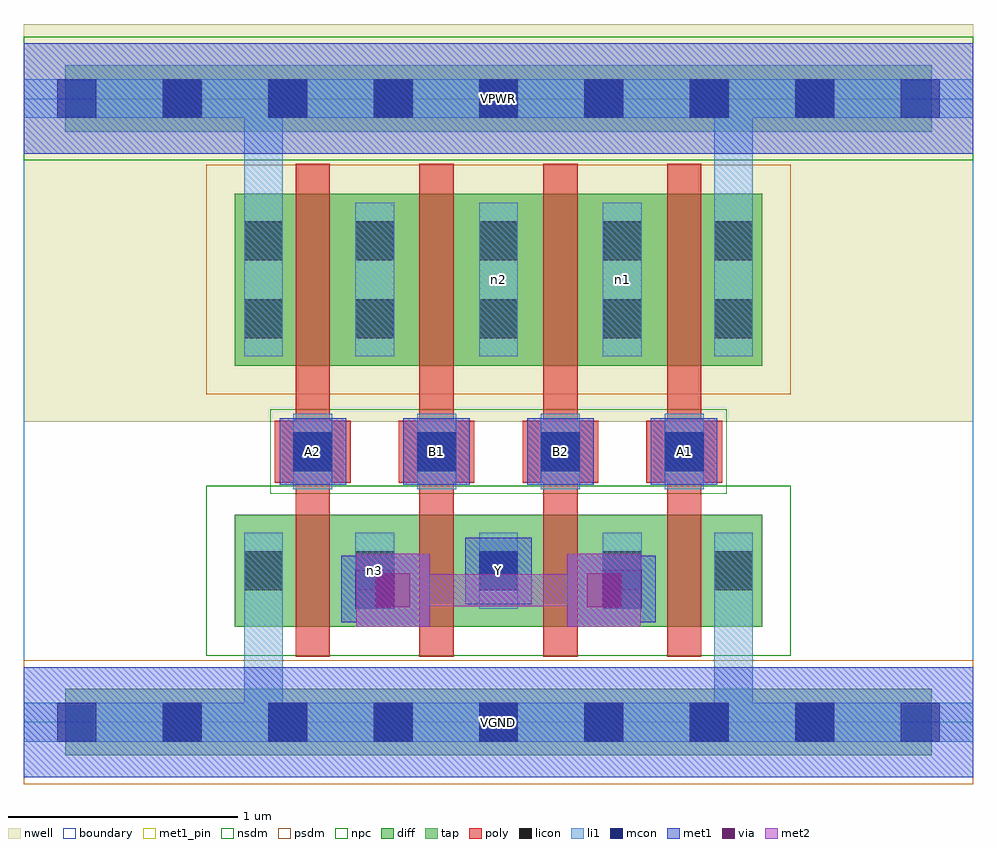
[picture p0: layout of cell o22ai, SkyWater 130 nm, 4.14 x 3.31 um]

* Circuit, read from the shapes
.subckt o22ai A1 A2 B1 B2 VGND VPWR Y n1 n2 n3
XM1 n3 A2 VGND VGND sky130_fd_pr__nfet_01v8 w=0.49 l=0.15
XM2 Y B1 n3 VGND sky130_fd_pr__nfet_01v8 w=0.49 l=0.15
XM3 n3 B2 Y VGND sky130_fd_pr__nfet_01v8 w=0.49 l=0.15
XM4 VGND A1 n3 VGND sky130_fd_pr__nfet_01v8 w=0.49 l=0.15
XM5 n4 A2 VPWR VPWR sky130_fd_pr__pfet_01v8 w=0.75 l=0.15
XM6 n2 B1 n4 VPWR sky130_fd_pr__pfet_01v8 w=0.75 l=0.15
XM7 n1 B2 n2 VPWR sky130_fd_pr__pfet_01v8 w=0.75 l=0.15
XM8 VPWR A1 n1 VPWR sky130_fd_pr__pfet_01v8 w=0.75 l=0.15
.ends

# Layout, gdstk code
import gdstk
lib = gdstk.Library(unit=1e-6, precision=1e-09)
def R(c, l, rs):  # rectangles x0, y0, x1, y1
    for r in rs: c.add(gdstk.rectangle(r[:2], r[2:], *l))
def A(c, l, x, y, w, h, nx, ny, dx, dy):  # array of equal rectangles
    R(c, l, [(x+i*dx, y+j*dy, x+i*dx+w, y+j*dy+h) for i in range(nx) for j in range(ny)])
nwell = (64, 20)
diff = (65, 20)
tap = (65, 44)
poly = (66, 20)
licon = (66, 44)
li1 = (67, 20)
mcon = (67, 44)
met1_pin = (68, 16)
met1 = (68, 20)
via = (68, 44)
met2 = (69, 20)
nsdm = (93, 44)
psdm = (94, 20)
npc = (95, 20)
boundary = (235, 4)

o22ai = lib.new_cell('o22ai')
R(o22ai, nwell, [(0,1.31,4.14,3.045)])
R(o22ai, diff, [(0.92,0.415,3.22,0.905), (0.92,1.555,3.22,2.305)])
R(o22ai, tap, [(0.18,-0.145,3.96,0.145), (0.18,2.575,3.96,2.865)])
A(o22ai, poly, 1.185, 0.285, 0.15, 2.15, 4, 1, 0.54, 0)
A(o22ai, poly, 1.095, 1.045, 0.33, 0.27, 4, 1, 0.54, 0)
A(o22ai, licon, 0.605, -0.085, 0.17, 0.17, 7, 2, 0.46, 2.72)
A(o22ai, licon, 1.445, 0.575, 0.17, 0.17, 3, 2, 0.54, 1.1)
A(o22ai, licon, 1.175, 1.095, 0.17, 0.17, 4, 1, 0.54, 0)
A(o22ai, licon, 1.445, 2.015, 0.17, 0.17, 3, 1, 0.54, 0)
R(o22ai, licon, [(0.96,0.575,1.13,0.745), (3.01,0.575,3.18,0.745), (0.96,1.675,1.13,1.845), (3.01,1.675,3.18,1.845), (0.96,2.015,1.13,2.185), (3.01,2.015,3.18,2.185)])
A(o22ai, li1, 1.445, 0.495, 0.17, 0.33, 3, 1, 0.54, 0)
A(o22ai, li1, 1.175, 1.015, 0.17, 0.33, 4, 1, 0.54, 0)
A(o22ai, li1, 1.445, 1.595, 0.17, 0.67, 3, 1, 0.54, 0)
R(o22ai, li1, [(0,-0.085,4.14,0.085), (0.96,-0.085,1.13,0.825), (3.01,-0.085,3.18,0.825), (0.96,0.495,1.13,0.825), (3.01,0.495,3.18,0.825), (0.96,1.595,1.13,2.265), (0.96,1.595,1.13,2.805), (3.01,1.595,3.18,2.265), (3.01,1.595,3.18,2.805), (0,2.635,4.14,2.805)])
A(o22ai, mcon, 0.145, -0.085, 0.17, 0.17, 9, 2, 0.46, 2.72)
A(o22ai, mcon, 1.175, 1.095, 0.17, 0.17, 4, 1, 0.54, 0)
R(o22ai, mcon, [(1.445,0.495,1.615,0.665), (2.525,0.495,2.695,0.665), (1.985,0.575,2.155,0.745)])
A(o22ai, met1_pin, 1.115, 1.035, 0.29, 0.29, 4, 1, 0.54, 0)
R(o22ai, met1_pin, [(0,-0.24,4.14,0.24), (1.925,0.515,2.215,0.805), (0,2.48,4.14,2.96)])
A(o22ai, met1, 1.115, 1.035, 0.29, 0.29, 4, 1, 0.54, 0)
R(o22ai, met1, [(0,-0.24,4.14,0.24), (1.45,0.415,1.77,0.735), (2.37,0.415,2.69,0.735), (1.385,0.435,1.675,0.725), (2.465,0.435,2.755,0.725), (1.54,0.505,1.68,0.65), (2.46,0.505,2.6,0.65), (1.46,0.51,1.68,0.65), (2.46,0.51,2.68,0.65), (1.925,0.515,2.215,0.805), (0,2.48,4.14,2.96)])
R(o22ai, via, [(1.535,0.5,1.685,0.65), (2.455,0.5,2.605,0.65)])
R(o22ai, met2, [(1.45,0.415,1.77,0.735), (2.37,0.415,2.69,0.735), (1.54,0.505,2.6,0.645)])
R(o22ai, nsdm, [(0.795,0.29,3.345,1.03), (0,2.45,4.14,2.99)])
R(o22ai, psdm, [(0,-0.27,4.14,0.27), (0.795,1.43,3.345,2.43)])
R(o22ai, npc, [(1.075,0.995,3.065,1.365)])
R(o22ai, boundary, [(0,0,4.14,2.72)])
o22ai.add(gdstk.Label('n3', (1.53,0.66), layer=67, texttype=5))
o22ai.add(gdstk.Label('n2', (2.07,1.93), layer=67, texttype=5))
o22ai.add(gdstk.Label('n1', (2.61,1.93), layer=67, texttype=5))
o22ai.add(gdstk.Label('A1', (2.88,1.18), layer=68, texttype=5))
o22ai.add(gdstk.Label('A2', (1.26,1.18), layer=68, texttype=5))
o22ai.add(gdstk.Label('B1', (1.8,1.18), layer=68, texttype=5))
o22ai.add(gdstk.Label('B2', (2.34,1.18), layer=68, texttype=5))
o22ai.add(gdstk.Label('Y', (2.07,0.66), layer=68, texttype=5))
o22ai.add(gdstk.Label('VPWR', (2.07,2.72), layer=68, texttype=5))
o22ai.add(gdstk.Label('VGND', (2.07,0), layer=68, texttype=5))
o22ai.add(gdstk.Label('A1', (2.88,1.18), layer=68, texttype=16))
o22ai.add(gdstk.Label('A2', (1.26,1.18), layer=68, texttype=16))
o22ai.add(gdstk.Label('B1', (1.8,1.18), layer=68, texttype=16))
o22ai.add(gdstk.Label('B2', (2.34,1.18), layer=68, texttype=16))
o22ai.add(gdstk.Label('Y', (2.07,0.66), layer=68, texttype=16))
o22ai.add(gdstk.Label('VPWR', (2.07,2.72), layer=68, texttype=16))
o22ai.add(gdstk.Label('VGND', (2.07,0), layer=68, texttype=16))

lib.write_gds('o22ai.gds')
